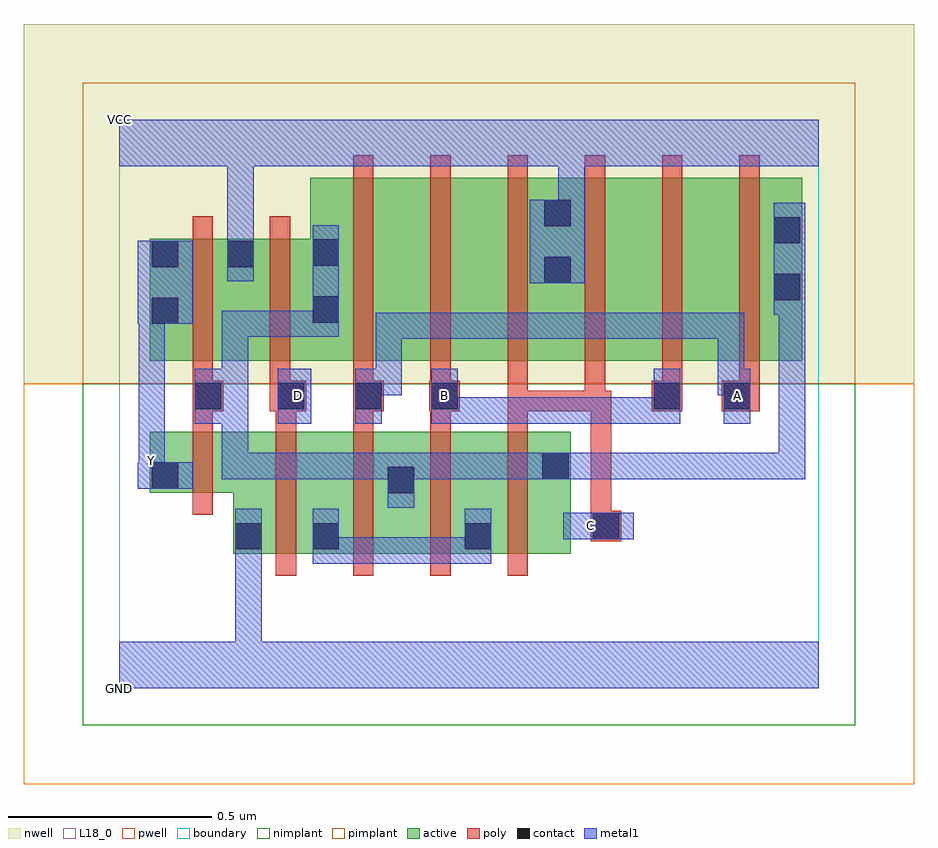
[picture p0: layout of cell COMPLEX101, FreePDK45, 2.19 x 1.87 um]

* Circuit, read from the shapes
.subckt COMPLEX101 A B C D GND VCC Y
M1 GND n1 Y VSUBS nfet w=0.15u l=0.05u
M2 n2 D GND VSUBS nfet w=0.3u l=0.05u
M3 n1 A n2 VSUBS nfet w=0.3u l=0.05u
M4 n2 B n1 VSUBS nfet w=0.3u l=0.05u
M5 n1 C n2 VSUBS nfet w=0.3u l=0.05u
M6 VCC n1 Y n3 pfet w=0.3u l=0.05u
M7 n1 D VCC n3 pfet w=0.3u l=0.05u
M8 n4 A n1 n3 pfet w=0.45u l=0.05u
M9 n5 B n4 n3 pfet w=0.45u l=0.05u
M10 VCC C n5 n3 pfet w=0.45u l=0.05u
M11 n6 C VCC n3 pfet w=0.45u l=0.05u
M12 n7 B n6 n3 pfet w=0.45u l=0.05u
M13 n1 A n7 n3 pfet w=0.45u l=0.05u
.ends

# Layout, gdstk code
import gdstk
lib = gdstk.Library(unit=1e-6, precision=1e-09)
def R(c, l, rs):  # rectangles x0, y0, x1, y1
    for r in rs: c.add(gdstk.rectangle(r[:2], r[2:], *l))
def A(c, l, x, y, w, h, nx, ny, dx, dy):  # array of equal rectangles
    R(c, l, [(x+i*dx, y+j*dy, x+i*dx+w, y+j*dy+h) for i in range(nx) for j in range(ny)])
active = (1, 0)
pwell = (2, 0)
nwell = (3, 0)
nimplant = (4, 0)
pimplant = (5, 0)
poly = (9, 0)
contact = (10, 0)
metal1 = (11, 0)
L18_0 = (18, 0)
boundary = (235, 0)

complex101 = lib.new_cell('COMPLEX101')
R(complex101, active, [(0.28,0.332,0.545,0.632), (0.28,0.332,0.355,0.632), (0.47,0.332,0.73,0.632), (0.47,0.332,0.545,0.547), (0.655,0.332,0.92,0.632), (0.845,0.332,1.11,0.632), (0.845,0.337,0.92,0.547), (0.655,0.382,0.73,0.55), (1.035,0.395,1.11,0.632), (0.075,0.482,0.355,0.632), (0.075,0.482,0.15,0.632), (0.075,0.807,0.335,1.107), (0.075,0.807,0.15,1.107), (0.26,0.807,0.545,1.107), (0.47,0.807,0.545,1.2), (0.47,0.807,0.695,1.257), (0.695,0.807,0.885,1.257), (0.885,0.807,1.115,1.257), (1.04,0.807,1.265,1.257), (1.265,0.807,1.455,1.257), (1.455,0.807,1.68,1.257), (1.605,0.807,1.68,1.2), (1.04,0.857,1.115,1.255), (0.26,1.007,0.335,1.107)])
R(complex101, pwell, [(-0.235,-0.235,1.955,0.75)])
R(complex101, nwell, [(-0.235,0.75,1.955,1.635)])
R(complex101, nimplant, [(-0.09,-0.09,1.81,0.75)])
R(complex101, pimplant, [(-0.09,0.75,1.81,1.49)])
A(complex101, poly, 0.385, 0.277, 0.05, 0.41, 4, 1, 0.19, 0)
A(complex101, poly, 0.385, 0.637, 0.05, 0.095, 4, 1, 0.19, 0)
A(complex101, poly, 0.575, 0.752, 0.05, 0.56, 6, 1, 0.19, 0)
R(complex101, poly, [(1.16,0.362,1.235,0.437), (1.16,0.387,1.21,0.732), (1.16,0.387,1.21,0.437), (1.16,0.387,1.21,0.437), (0.18,0.427,0.23,0.687), (0.18,0.637,0.23,0.732), (0.18,0.682,0.255,0.757), (0.37,0.682,0.46,0.757), (0.575,0.682,0.65,0.757), (0.762,0.682,0.837,0.757), (0.955,0.682,1.005,0.802), (0.955,0.682,1.005,0.732), (0.955,0.682,1.195,0.732), (1.145,0.682,1.195,0.802), (1.145,0.682,1.195,0.732), (1.145,0.682,1.195,0.732), (1.145,0.682,1.21,0.732), (1.31,0.682,1.385,0.757), (1.482,0.682,1.575,0.757), (0.18,0.707,0.23,0.802), (0.37,0.707,0.42,0.802), (0.575,0.707,0.625,0.802), (0.765,0.707,0.815,0.802), (1.335,0.707,1.385,0.802), (1.525,0.707,1.575,0.802), (0.18,0.752,0.23,1.162), (0.37,0.752,0.42,1.162)])
R(complex101, contact, [(0.285,0.342,0.35,0.407), (0.475,0.342,0.54,0.407), (0.85,0.342,0.915,0.407), (1.165,0.367,1.23,0.432), (0.66,0.48,0.725,0.545), (0.08,0.492,0.145,0.557), (1.04,0.515,1.105,0.58), (0.185,0.687,0.25,0.752), (0.39,0.687,0.455,0.752), (0.58,0.687,0.645,0.752), (0.767,0.687,0.832,0.752), (1.315,0.687,1.38,0.752), (1.487,0.687,1.552,0.752), (0.08,0.897,0.145,0.962), (0.475,0.9,0.54,0.965), (1.61,0.955,1.675,1.02), (1.045,0.997,1.11,1.062), (0.08,1.037,0.145,1.102), (0.265,1.037,0.33,1.102), (0.475,1.04,0.54,1.105), (1.61,1.095,1.675,1.16), (1.045,1.137,1.11,1.202)])
R(complex101, metal1, [(0,0,1.72,0.115), (0.285,0.05,0.35,0.115), (0.285,0.05,0.35,0.115), (0.285,0.05,0.35,0.115), (0.285,0.05,0.35,0.115), (0.285,0.05,0.35,0.372), (0.285,0.307,0.35,0.442), (0.475,0.307,0.54,0.442), (0.475,0.307,0.695,0.372), (0.63,0.307,0.695,0.372), (0.63,0.307,0.695,0.372), (0.63,0.307,0.695,0.372), (0.63,0.307,0.862,0.372), (0.797,0.307,0.862,0.372), (0.797,0.307,0.915,0.372), (0.85,0.307,0.915,0.442), (1.092,0.367,1.265,0.432), (0.66,0.445,0.725,0.58), (0.045,0.492,0.18,0.557), (0.047,0.492,0.112,0.557), (0.047,0.492,0.112,0.627), (0.252,0.515,0.317,0.58), (0.252,0.515,0.387,0.58), (0.252,0.515,0.317,0.787), (0.322,0.515,0.387,0.58), (0.322,0.515,0.557,0.58), (0.492,0.515,0.557,0.58), (0.492,0.515,0.557,0.58), (0.492,0.515,0.557,0.58), (0.492,0.515,0.725,0.58), (0.66,0.515,0.862,0.58), (0.797,0.515,0.862,0.58), (0.797,0.515,0.862,0.58), (0.797,0.515,0.862,0.58), (0.797,0.515,1.002,0.58), (0.937,0.515,1.002,0.58), (0.937,0.515,1.07,0.58), (1.005,0.515,1.14,0.58), (1.075,0.515,1.14,0.58), (1.075,0.515,1.14,0.58), (1.075,0.515,1.4,0.58), (1.335,0.515,1.4,0.58), (1.335,0.515,1.4,0.58), (1.335,0.515,1.4,0.58), (1.335,0.515,1.537,0.58), (1.472,0.515,1.537,0.58), (1.472,0.515,1.687,0.58), (1.622,0.515,1.687,0.58), (1.622,0.515,1.687,0.58), (1.622,0.515,1.687,0.58), (1.622,0.515,1.687,0.985), (0.047,0.562,0.112,0.962), (0.185,0.652,0.25,0.787), (0.39,0.652,0.472,0.787), (0.58,0.652,0.645,0.787), (0.767,0.652,0.832,0.787), (0.767,0.652,0.862,0.717), (0.797,0.652,0.862,0.717), (0.797,0.652,1,0.717), (0.935,0.652,1,0.717), (0.935,0.652,1,0.717), (0.935,0.652,1,0.717), (0.935,0.652,1.14,0.717), (1.075,0.652,1.14,0.717), (1.075,0.652,1.38,0.717), (1.315,0.652,1.38,0.717), (1.315,0.652,1.38,0.717), (1.315,0.652,1.38,0.787), (1.487,0.652,1.552,0.787), (0.185,0.722,0.317,0.787), (0.252,0.722,0.317,0.787), (0.252,0.722,0.317,0.93), (0.58,0.722,0.695,0.787), (0.63,0.722,0.695,0.787), (0.63,0.722,0.695,0.925), (1.472,0.722,1.537,0.787), (1.472,0.722,1.552,0.787), (1.472,0.722,1.537,0.925), (0.63,0.86,0.695,0.925), (0.63,0.86,0.862,0.925), (0.797,0.86,0.862,0.925), (0.797,0.86,0.862,0.925), (0.797,0.86,0.862,0.925), (0.797,0.86,1,0.925), (0.935,0.86,1,0.925), (0.935,0.86,1,0.925), (0.935,0.86,1,0.925), (0.935,0.86,1.242,0.925), (1.177,0.86,1.242,0.925), (1.177,0.86,1.4,0.925), (1.335,0.86,1.4,0.925), (1.335,0.86,1.4,0.925), (1.335,0.86,1.4,0.925), (1.335,0.86,1.537,0.925), (1.472,0.86,1.537,0.925), (0.252,0.865,0.317,0.93), (0.252,0.865,0.42,0.93), (0.355,0.865,0.42,0.93), (0.355,0.865,0.54,0.93), (0.475,0.865,0.54,1.14), (0.045,0.897,0.18,1.102), (1.61,0.92,1.687,1.195), (1.622,0.92,1.687,0.985), (1.622,0.92,1.687,0.985), (1.01,0.997,1.145,1.202), (0.265,1.002,0.33,1.137), (0.265,1.072,0.33,1.35), (1.08,1.137,1.145,1.35), (0,1.285,1.72,1.4), (0.265,1.285,0.33,1.35), (0.265,1.285,0.33,1.35)])
R(complex101, L18_0, [(0,0,1.72,0.115), (0.285,0.05,0.35,0.115), (0.285,0.05,0.35,0.115), (0.285,0.05,0.35,0.115), (0.285,0.05,0.35,0.115), (0.285,0.05,0.35,0.372), (0.285,0.307,0.35,0.442), (1.092,0.367,1.265,0.432), (1.127,0.367,1.192,0.432), (0.045,0.492,0.18,0.557), (0.047,0.492,0.112,0.627), (0.047,0.492,0.112,0.557), (0.047,0.527,0.112,0.592), (0.047,0.562,0.112,0.962), (0.39,0.652,0.472,0.787), (0.58,0.652,0.645,0.787), (0.767,0.652,0.832,0.787), (0.767,0.652,0.862,0.717), (0.797,0.652,0.862,0.717), (0.797,0.652,1,0.717), (0.935,0.652,1,0.717), (0.935,0.652,1,0.717), (0.935,0.652,1,0.717), (0.935,0.652,1.14,0.717), (1.075,0.652,1.14,0.717), (1.075,0.652,1.38,0.717), (1.315,0.652,1.38,0.787), (1.315,0.652,1.38,0.717), (1.315,0.652,1.38,0.717), (1.487,0.652,1.552,0.787), (0.407,0.687,0.472,0.752), (0.767,0.687,0.832,0.752), (1.487,0.687,1.552,0.752), (0.58,0.722,0.695,0.787), (0.63,0.722,0.695,0.787), (0.63,0.722,0.695,0.925), (1.472,0.722,1.537,0.787), (1.472,0.722,1.537,0.925), (1.472,0.722,1.552,0.787), (0.63,0.86,0.695,0.925), (0.63,0.86,0.862,0.925), (0.797,0.86,0.862,0.925), (0.797,0.86,0.862,0.925), (0.797,0.86,0.862,0.925), (0.797,0.86,1,0.925), (0.935,0.86,1,0.925), (0.935,0.86,1,0.925), (0.935,0.86,1,0.925), (0.935,0.86,1.242,0.925), (1.177,0.86,1.242,0.925), (1.177,0.86,1.4,0.925), (1.335,0.86,1.4,0.925), (1.335,0.86,1.4,0.925), (1.335,0.86,1.4,0.925), (1.335,0.86,1.537,0.925), (1.472,0.86,1.537,0.925), (0.045,0.897,0.18,1.102), (1.01,0.997,1.145,1.202), (0.265,1.002,0.33,1.137), (0.265,1.072,0.33,1.35), (1.08,1.137,1.145,1.35), (0,1.285,1.72,1.4), (0.265,1.285,0.33,1.35), (0.265,1.285,0.33,1.35)])
R(complex101, boundary, [(0,0,1.72,1.4)])
complex101.add(gdstk.Label('A', (1.52,0.72), layer=11, texttype=0))
complex101.add(gdstk.Label('B', (0.8,0.72), layer=11, texttype=0))
complex101.add(gdstk.Label('C', (1.16,0.4), layer=11, texttype=0))
complex101.add(gdstk.Label('D', (0.44,0.72), layer=11, texttype=0))
complex101.add(gdstk.Label('Y', (0.08,0.56), layer=11, texttype=0))
complex101.add(gdstk.Label('VCC', (0,1.4), layer=11, texttype=0))
complex101.add(gdstk.Label('GND', (0,0), layer=11, texttype=0))

lib.write_gds('COMPLEX101.gds')
